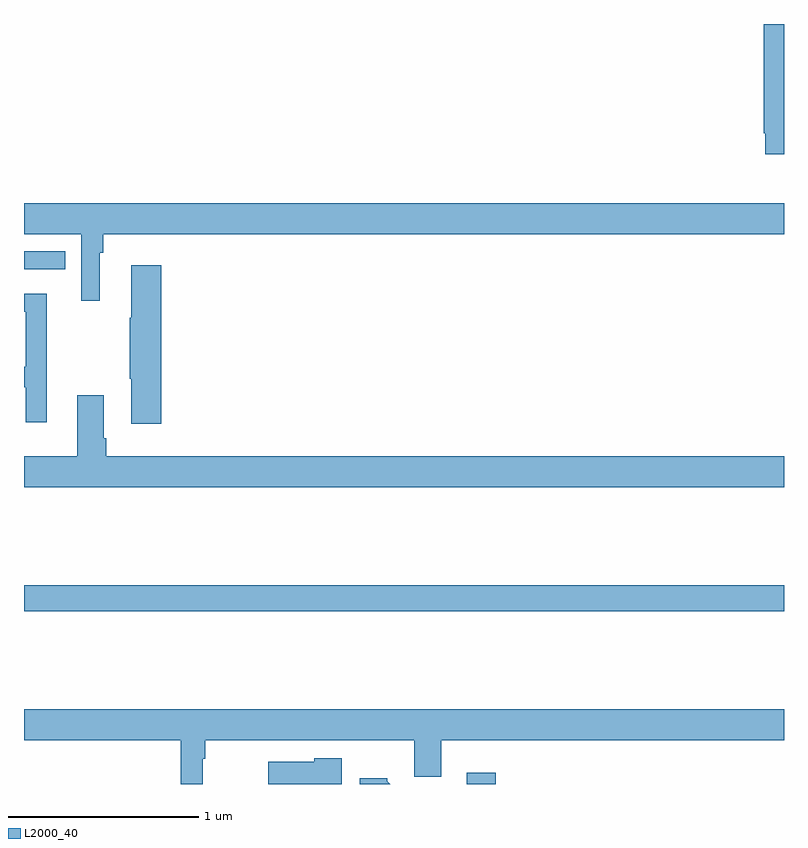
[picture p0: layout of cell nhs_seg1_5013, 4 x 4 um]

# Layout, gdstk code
import gdstk
lib = gdstk.Library(unit=1e-6, precision=1e-09)
def R(c, l, rs):  # rectangles x0, y0, x1, y1
    for r in rs: c.add(gdstk.rectangle(r[:2], r[2:], *l))
def P(c, l, *ps):  # polygons
    for p in ps: c.add(gdstk.Polygon(p, *l))
L2000_40 = (2000, 40)

nhs_seg1_5013 = lib.new_cell('nhs_seg1_5013')
R(nhs_seg1_5013, L2000_40, [(385.331,522.199,385.484,522.259), (383,523.108,387,523.244), (383,524.907,383.216,525.003)])
P(nhs_seg1_5013, L2000_40, [(387,526.199),(386.893,526.199),(386.893,525.625),(386.901,525.625),(386.901,525.513),(387,525.513)],
  [(383.398,524.996),(383.417,524.996),(383.417,525.092),(387,525.092),(387,525.256),(383,525.256),(383,525.092),(383.301,525.092),(383.301,524.742),(383.398,524.742)],
  [(383.723,524.929),(383.564,524.929),(383.564,524.654),(383.557,524.654),(383.557,524.332),(383.564,524.332),(383.564,524.094),(383.723,524.094)],
  [(383.119,524.779),(383,524.779),(383,524.685),(383.009,524.685),(383.009,524.394),(383,524.394),(383,524.286),(383.009,524.286),(383.009,524.103),(383.119,524.103)],
  [(387,523.924),(383.432,523.924),(383.432,524.02),(383.419,524.02),(383.419,524.245),(383.279,524.245),(383.279,523.924),(383,523.924),(383,523.76),(387,523.76)],
  [(383.94,522.332),(383.953,522.332),(383.953,522.428),(385.055,522.428),(385.055,522.238),(385.195,522.238),(385.195,522.428),(387,522.428),(387,522.592),(383,522.592),(383,522.428),(383.824,522.428),(383.824,522.199),(383.94,522.199)],
  [(384.673,522.334),(384.528,522.334),(384.528,522.316),(384.285,522.316),(384.285,522.199),(384.673,522.199)],
  [(384.912,522.214),(384.912,522.229),(384.768,522.229),(384.768,522.199),(384.927,522.199)])

lib.write_gds('nhs_seg1_5013.gds')
